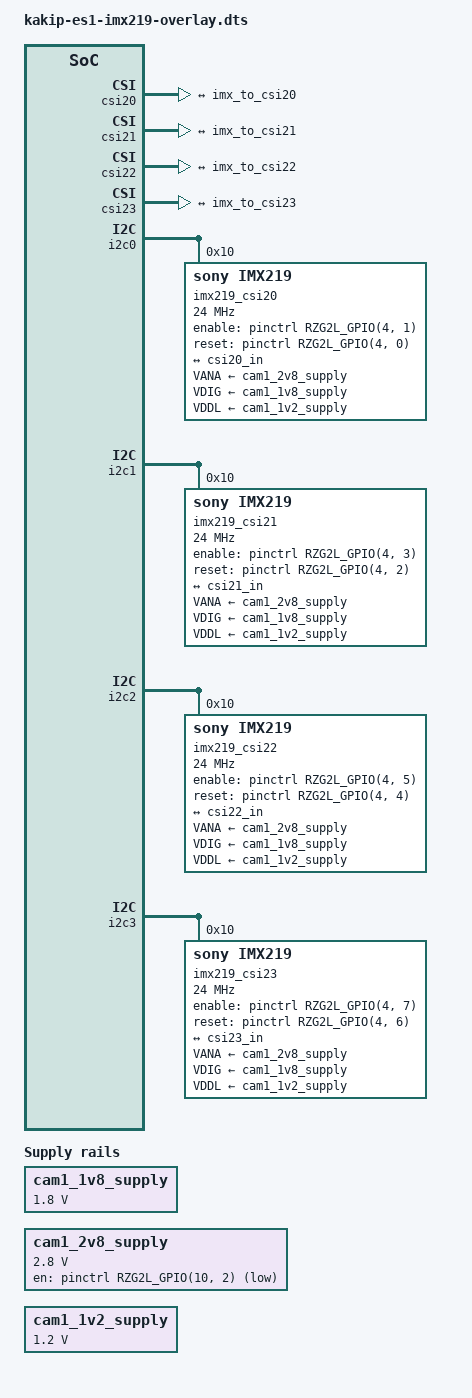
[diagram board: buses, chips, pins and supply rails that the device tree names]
/dts-v1/;
/plugin/;

#include <dt-bindings/pinctrl/rzg2l-pinctrl.h>
#include <dt-bindings/gpio/gpio.h>


/ {
	cam1_1v8_supply: 1p8v {
		compatible = "regulator-fixed";
		regulator-name = "cam1_1v8_supply";
		regulator-min-microvolt = <1800000>;
		regulator-max-microvolt = <1800000>;
		regulator-always-on;
	};

	cam1_2v8_supply: 2p8v {
		compatible = "regulator-fixed";
		regulator-name = "cam1_2v8_supply";
		regulator-min-microvolt = <2800000>;
		regulator-max-microvolt = <2800000>;
		gpios = <&pinctrl RZG2L_GPIO(10, 2) 0>;
		startup-delay-us = <300000>;
	};

	cam1_1v2_supply: 1p2v {
		compatible = "regulator-fixed";
		regulator-name = "cam1_1v2_supply";
		regulator-min-microvolt = <1200000>;
		regulator-max-microvolt = <1200000>;
		regulator-always-on;
	};
};

&csi20 {
	status = "okay";
	ports {
		port@0 {
			reg = <0>;
			csi20_in: endpoint {
				clock-lanes = <0>;
				data-lanes = <1 2>;
				remote-endpoint = <&imx_to_csi20>;
			};
		};
	};
};

&csi21 {
	status = "okay";
	ports {
		port@0 {
			reg = <0>;
			csi21_in: endpoint {
				clock-lanes = <0>;
				data-lanes = <1 2>;
				remote-endpoint = <&imx_to_csi21>;
			};
		};
	};
};

&csi22 {
	status = "okay";
	ports {
		port@0 {
			reg = <0>;
			csi22_in: endpoint {
				clock-lanes = <0>;
				data-lanes = <1 2>;
				remote-endpoint = <&imx_to_csi22>;
			};
		};
	};
};

&csi23 {
	status = "okay";
	ports {
		port@0 {
			reg = <0>;
			csi23_in: endpoint {
				clock-lanes = <0>;
				data-lanes = <1 2>;
				remote-endpoint = <&imx_to_csi23>;
			};
		};
	};
};

&i2c0 {
	pinctrl-0 = <&i2c0_pins>;
	pinctrl-names = "default";
	status = "okay";

	imx219_csi20: imx219@10 {
		compatible = "sony,imx219";
		reg = <0x10>;

		clock-names = "xclk";
		clocks = <&clk_ext_camera>;
		clock-frequency = <24000000>;
		VANA-supply = <&cam1_2v8_supply>;
		VDIG-supply = <&cam1_1v8_supply>;
		VDDL-supply = <&cam1_1v2_supply>;

		enable-gpios = <&pinctrl RZG2L_GPIO(4, 1) GPIO_ACTIVE_HIGH>;
		reset-gpios = <&pinctrl RZG2L_GPIO(4, 0) GPIO_ACTIVE_HIGH>;

		port {
			imx_to_csi20: endpoint {
				clock-lanes = <0>;
				data-lanes = <1 2>;
				link-frequencies = /bits/ 64 <456000000>;
				remote-endpoint = <&csi20_in>;
			};
		};
	};

	/delete-node/ ov5645_csi20@3c;
};

&i2c1 {
	pinctrl-0 = <&i2c1_pins>;
	pinctrl-names = "default";
	status = "okay";

	/delete-node/ ov5645_csi21@3c;

	imx219_csi21: imx219@10 {
		compatible = "sony,imx219";
		reg = <0x10>;
		clock-names = "xclk";

		clocks = <&clk_ext_camera>;
		clock-frequency = <24000000>;
		VANA-supply = <&cam1_2v8_supply>;
		VDIG-supply = <&cam1_1v8_supply>;
		VDDL-supply = <&cam1_1v2_supply>;

		enable-gpios = <&pinctrl RZG2L_GPIO(4, 3) GPIO_ACTIVE_HIGH>;
		reset-gpios = <&pinctrl RZG2L_GPIO(4, 2) GPIO_ACTIVE_HIGH>;

		port {
			imx_to_csi21: endpoint {
				clock-lanes = <0>;
				data-lanes = <1 2>;
				link-frequencies = /bits/ 64 <456000000>;
				remote-endpoint = <&csi21_in>;
			};
		};
	};
};

&i2c2 {
	pinctrl-0 = <&i2c2_pins>;
	pinctrl-names = "default";
	status = "okay";

	/delete-node/ ov5645_csi22@3c;

	imx219_csi22: imx219@10 {
		compatible = "sony,imx219";
		reg = <0x10>;
		clock-names = "xclk";

		clocks = <&clk_ext_camera>;
		clock-frequency = <24000000>;
		VANA-supply = <&cam1_2v8_supply>;
		VDIG-supply = <&cam1_1v8_supply>;
		VDDL-supply = <&cam1_1v2_supply>;

		enable-gpios = <&pinctrl RZG2L_GPIO(4, 5) GPIO_ACTIVE_HIGH>;
		reset-gpios = <&pinctrl RZG2L_GPIO(4, 4) GPIO_ACTIVE_HIGH>;

		port {
			imx_to_csi22: endpoint {
				clock-lanes = <0>;
				data-lanes = <1 2>;
				link-frequencies = /bits/ 64 <456000000>;
				remote-endpoint = <&csi22_in>;
			};
		};
	};
};

&i2c3 {
	pinctrl-0 = <&i2c3_pins>;
	pinctrl-names = "default";
	status = "okay";

	/delete-node/ ov5645_csi23@3c;

	imx219_csi23: imx219@10 {
		compatible = "sony,imx219";
		reg = <0x10>;
		clock-names = "xclk";

		clocks = <&clk_ext_camera>;
		clock-frequency = <24000000>;
		VANA-supply = <&cam1_2v8_supply>;
		VDIG-supply = <&cam1_1v8_supply>;
		VDDL-supply = <&cam1_1v2_supply>;

		enable-gpios = <&pinctrl RZG2L_GPIO(4, 7) GPIO_ACTIVE_HIGH>;
		reset-gpios = <&pinctrl RZG2L_GPIO(4, 6) GPIO_ACTIVE_HIGH>;

		port {
			imx_to_csi23: endpoint {
				clock-lanes = <0>;
				data-lanes = <1 2>;
				link-frequencies = /bits/ 64 <456000000>;
				remote-endpoint = <&csi23_in>;
			};
		};
	};
};
